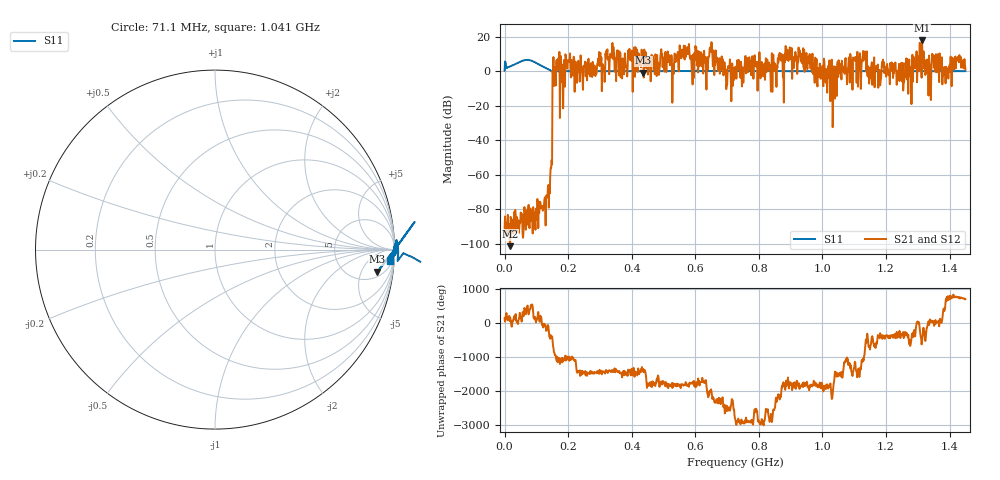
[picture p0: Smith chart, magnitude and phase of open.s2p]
! Created with skrf 1.11.0 (http://scikit-rf.org).
# Hz S RI R 50.0
!freq ReS11 ImS11 ReS21 ImS21 ReS12 ImS12 ReS22 ImS22
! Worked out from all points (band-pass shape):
!   1001 points, 50 kHz to 1.45 GHz, reference 50 ohm
!   highest |S21| = 17.82 dB at 1.314 GHz (marker M1); lowest = -101.4 dB at 17.45 MHz (marker M2)
!   |S21| within 3 dB of the highest: 338.943 MHz to 339.5839 MHz (641 kHz wide, 0.189 % of centre); 550.9949 MHz to 551.0813 MHz (86.36 kHz wide, 0.0157 % of centre) (the widest 2 of 7)
!   lowest |S11| = -0.8 dB at 436.5 MHz (marker M3), VSWR 22.15, Z = 341 - j509 ohm
!   |S11| at or under -10 dB: nowhere
!   |S22| runs from - to - dB; largest |S21 - S12| = 0
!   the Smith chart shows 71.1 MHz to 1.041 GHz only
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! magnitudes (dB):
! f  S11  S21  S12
! 50 kHz  0.3  -90.7  -90.7
! 17.45 MHz  2.8  -101.4  -101.4
! 121.8 MHz  2.5  -78.0  -78.0
! 142.1 MHz  0.7  -70.8  -70.8
! 158.1 MHz  0.0  0.5  0.5
! 242.2 MHz  0.1  2.2  2.2
! 436.5 MHz  -0.8  10.1  10.1
! 484.3 MHz  0.1  1.4  1.4
! 632.2 MHz  0.1  8.2  8.2
! 649.6 MHz  0.1  11.2  11.2
! 725 MHz  0.1  -1.4  -1.4
! 849.7 MHz  0.1  4.6  4.6
! 890.3 MHz  0.1  12.5  12.5
! 967.2 MHz  0.0  -0.5  -0.5
! 1.038 GHz  0.0  -7.6  -7.6
! 1.054 GHz  0.0  -1.2  -1.2
! 1.103 GHz  0.0  8.2  8.2
! 1.209 GHz  0.0  -1.9  -1.9
! 1.277 GHz  0.1  -3.2  -3.2
! 1.314 GHz  0.0  17.8  17.8
! 1.334 GHz  0.0  -14.1  -14.1
! 1.45 GHz  0.1  1.1  1.1
